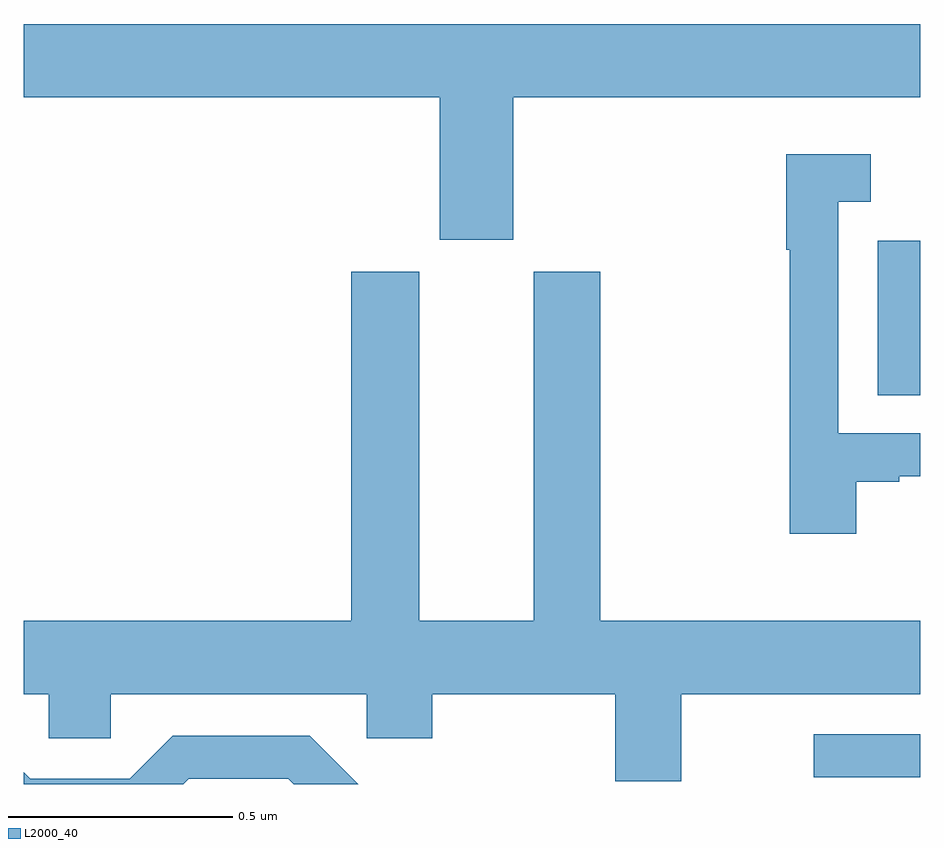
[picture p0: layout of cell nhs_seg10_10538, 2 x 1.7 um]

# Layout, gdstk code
import gdstk
lib = gdstk.Library(unit=1e-6, precision=1e-09)
def R(c, l, rs):  # rectangles x0, y0, x1, y1
    for r in rs: c.add(gdstk.rectangle(r[:2], r[2:], *l))
def P(c, l, *ps):  # polygons
    for p in ps: c.add(gdstk.Polygon(p, *l))
L2000_40 = (2000, 40)

nhs_seg10_10538 = lib.new_cell('nhs_seg10_10538')
R(nhs_seg10_10538, L2000_40, [(245.763,1249.515,246,1249.611), (245.906,1250.368,246,1250.712)])
P(nhs_seg10_10538, L2000_40, [(245.092,1251.032),(246,1251.032),(246,1251.196),(244,1251.196),(244,1251.032),(244.928,1251.032),(244.928,1250.715),(245.092,1250.715)],
  [(245.857,1250.175),(245.953,1250.175),(245.953,1250.187),(246,1250.187),(246,1250.283),(245.817,1250.283),(245.817,1250.799),(245.89,1250.799),(245.89,1250.905),(245.701,1250.905),(245.701,1250.692),(245.709,1250.692),(245.709,1250.058),(245.857,1250.058)],
  [(245.467,1249.7),(246,1249.7),(246,1249.864),(245.286,1249.864),(245.286,1250.643),(245.138,1250.643),(245.138,1249.864),(244.882,1249.864),(244.882,1250.643),(244.73,1250.643),(244.73,1249.864),(244,1249.864),(244,1249.7),(244.056,1249.7),(244.056,1249.602),(244.194,1249.602),(244.194,1249.7),(244.765,1249.7),(244.765,1249.602),(244.911,1249.602),(244.911,1249.7),(245.32,1249.7),(245.32,1249.506),(245.467,1249.506)],
  [(244.368,1249.512),(244.59,1249.512),(244.602,1249.5),(244.746,1249.5),(244.638,1249.608),(244.332,1249.608),(244.236,1249.512),(244.014,1249.512),(244,1249.526),(244,1249.5),(244.356,1249.5)])

lib.write_gds('nhs_seg10_10538.gds')
